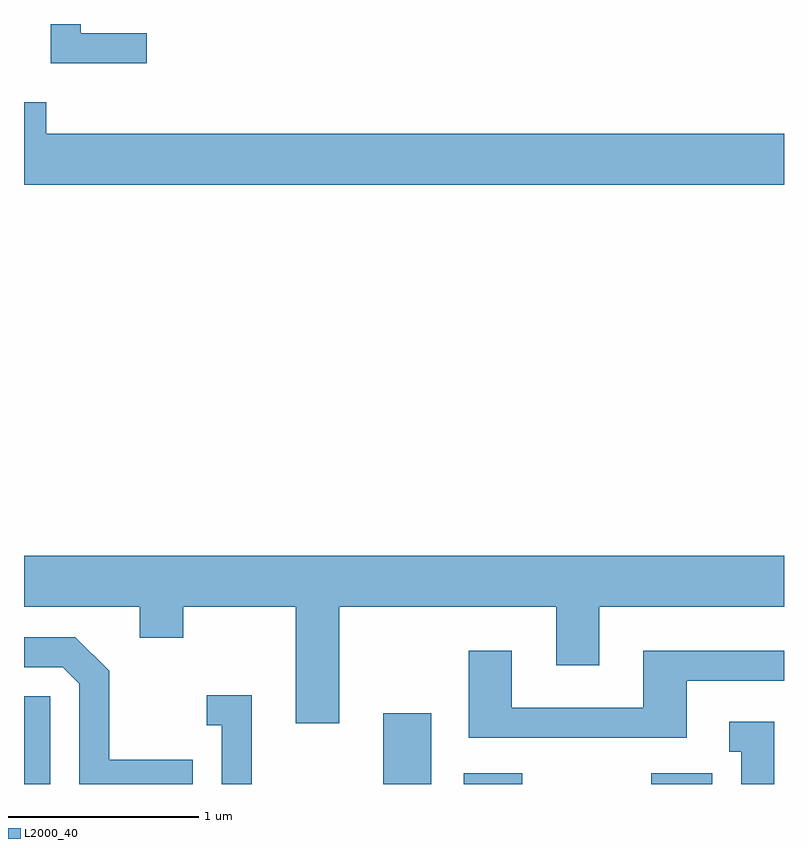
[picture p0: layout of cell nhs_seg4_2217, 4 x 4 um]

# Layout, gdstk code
import gdstk
lib = gdstk.Library(unit=1e-6, precision=1e-09)
def R(c, l, rs):  # rectangles x0, y0, x1, y1
    for r in rs: c.add(gdstk.rectangle(r[:2], r[2:], *l))
def P(c, l, *ps):  # polygons
    for p in ps: c.add(gdstk.Polygon(p, *l))
L2000_40 = (2000, 40)

nhs_seg4_2217 = lib.new_cell('nhs_seg4_2217')
R(nhs_seg4_2217, L2000_40, [(249.611,1335.982,249.749,1336.444), (251.501,1335.982,251.754,1336.354), (251.926,1335.982,252.234,1336.039), (252.911,1335.982,253.234,1336.039)])
P(nhs_seg4_2217, L2000_40, [(250.258,1339.934),(249.909,1339.934),(249.909,1339.982),(249.751,1339.982),(249.751,1339.776),(250.258,1339.776)],
  [(253.611,1339.404),(249.729,1339.404),(249.729,1339.569),(249.611,1339.569),(249.611,1339.136),(253.611,1339.136)],
  [(251.269,1336.916),(252.411,1336.916),(252.411,1336.606),(252.639,1336.606),(252.639,1336.916),(253.611,1336.916),(253.611,1337.184),(249.611,1337.184),(249.611,1336.916),(250.221,1336.916),(250.221,1336.751),(250.449,1336.751),(250.449,1336.916),(251.041,1336.916),(251.041,1336.301),(251.269,1336.301)],
  [(250.499,1336.109),(250.059,1336.109),(250.059,1336.577),(249.882,1336.754),(249.611,1336.754),(249.611,1336.596),(249.814,1336.596),(249.901,1336.509),(249.901,1335.982),(250.499,1335.982)],
  [(253.099,1336.526),(253.611,1336.526),(253.611,1336.684),(252.871,1336.684),(252.871,1336.384),(252.179,1336.384),(252.179,1336.684),(251.951,1336.684),(251.951,1336.226),(253.099,1336.226)],
  [(250.809,1336.449),(250.573,1336.449),(250.573,1336.291),(250.651,1336.291),(250.651,1335.982),(250.809,1335.982)],
  [(253.559,1336.309),(253.323,1336.309),(253.323,1336.151),(253.386,1336.151),(253.386,1335.982),(253.559,1335.982)])

lib.write_gds('nhs_seg4_2217.gds')
